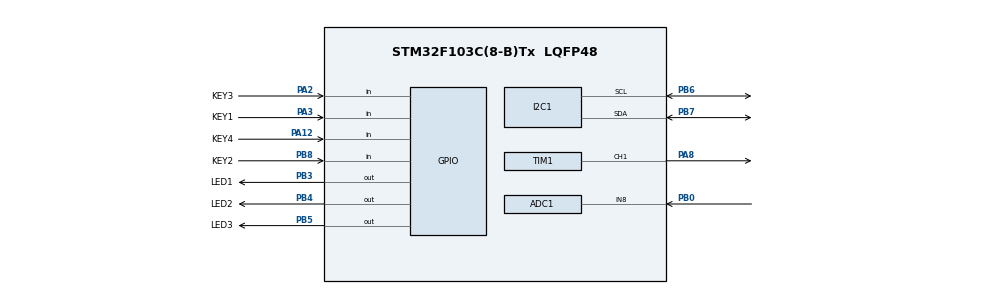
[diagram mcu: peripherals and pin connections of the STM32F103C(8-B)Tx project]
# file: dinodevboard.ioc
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ADC1.Channel-0\#ChannelRegularConversion=ADC_CHANNEL_8
ADC1.NbrOfConversionFlag=1
ADC1.Rank-0\#ChannelRegularConversion=1
ADC1.SamplingTime-0\#ChannelRegularConversion=ADC_SAMPLETIME_1CYCLE_5
ADC1.master=1
Mcu.Family=STM32F1
Mcu.Name=STM32F103C(8-B)Tx
Mcu.Package=LQFP48
NVIC.PriorityGroup=NVIC_PRIORITYGROUP_4
PA12.GPIO_Label=KEY4
PA12.GPIO_PuPd=GPIO_PULLUP
PA12.Signal=GPIO_Input
PA13.Mode=Serial_Wire
PA13.Signal=SYS_JTMS-SWDIO
PA14.Mode=Serial_Wire
PA14.Signal=SYS_JTCK-SWCLK
PA2.GPIO_Label=KEY3
PA2.GPIO_PuPd=GPIO_PULLUP
PA2.Signal=GPIO_Input
PA3.GPIO_Label=KEY1
PA3.GPIO_PuPd=GPIO_PULLUP
PA3.Signal=GPIO_Input
PA8.Signal=S_TIM1_CH1
PB0.Signal=ADCx_IN8
PB3.GPIO_Label=LED1
PB3.PinState=GPIO_PIN_RESET
PB3.Signal=GPIO_Output
PB4.GPIO_Label=LED2
PB4.Signal=GPIO_Output
PB5.GPIO_Label=LED3
PB5.Signal=GPIO_Output
PB6.Mode=I2C
PB6.Signal=I2C1_SCL
PB7.Mode=I2C
PB7.Signal=I2C1_SDA
PB8.GPIO_Label=KEY2
PB8.GPIO_PuPd=GPIO_PULLUP
PB8.Signal=GPIO_Input
PD0-OSC_IN.Mode=HSE-External-Oscillator
PD0-OSC_IN.Signal=RCC_OSC_IN
PD1-OSC_OUT.Mode=HSE-External-Oscillator
PD1-OSC_OUT.Signal=RCC_OSC_OUT
ProjectManager.HeapSize=0x200
ProjectManager.StackSize=0x400
ProjectManager.TargetToolchain=STM32CubeIDE
RCC.APB1Freq_Value=8000000
RCC.APB2Freq_Value=8000000
SH.ADCx_IN8.0=ADC1_IN8,IN8
SH.S_TIM1_CH1.0=TIM1_CH1,PWM Generation1 CH1
TIM1.Channel-PWM\ Generation1\ CH1=TIM_CHANNEL_1
board=custom

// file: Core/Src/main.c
/* USER CODE BEGIN Header */
/**
 ******************************************************************************
 * @file           : main.c
 * @brief          : Main program body
 ******************************************************************************
 * @attention
 *
 * Copyright (c) 2023 STMicroelectronics.
 * All rights reserved.
 *
 * This software is licensed under terms that can be found in the LICENSE file
 * in the root directory of this software component.
 * If no LICENSE file comes with this software, it is provided AS-IS.
 *
 ******************************************************************************
 */
/* USER CODE END Header */
#include "main.h"

/* USER CODE BEGIN Includes */
#include"ssd1306.h"
#include<stdio.h>
#include"button.h"
#include "tetris.h"
#include "ssd1306.h"
#include "button.h"
/* USER CODE END Includes */

/* USER CODE BEGIN PTD */
button BTNUP, BTNLEFT, BTNRIGHT, BTNDOWN;
void printPointer(uint8_t ptr)
{
	ssd1306_SetCursor(0, ptr * 10);
	ssd1306_WriteString(">", Font_7x10, White);
}
/* USER CODE END PTD */

ADC_HandleTypeDef hadc1;

I2C_HandleTypeDef hi2c1;

TIM_HandleTypeDef htim1;

void SystemClock_Config(void);
static void MX_GPIO_Init(void);
static void MX_I2C1_Init(void);
static void MX_ADC1_Init(void);
static void MX_TIM1_Init(void);

/* USER CODE BEGIN 0 */

#define MPU6050_ADDR 0xD0

#define SMPLRT_DIV_REG 0x19
#define GYRO_CONFIG_REG 0x1B
#define ACCEL_CONFIG_REG 0x1C
#define ACCEL_XOUT_H_REG 0x3B
#define TEMP_OUT_H_REG 0x41
#define GYRO_XOUT_H_REG 0x43
#define PWR_MGMT_1_REG 0x6B
#define WHO_AM_I_REG 0x75

int16_t Accel_X_RAW = 0;
int16_t Accel_Y_RAW = 0;
int16_t Accel_Z_RAW = 0;

int16_t Gyro_X_RAW = 0;
int16_t Gyro_Y_RAW = 0;
int16_t Gyro_Z_RAW = 0;

float Ax, Ay, Az, Gx, Gy, Gz;

void MPU6050_Init(void)
{
	uint8_t check;
	uint8_t Data;

	// check device ID WHO_AM_I

	HAL_I2C_Mem_Read(&hi2c1, MPU6050_ADDR, WHO_AM_I_REG, 1, &check, 1, 1000);

	if (check == 104) // 0x68 will be returned by the sensor if everything goes well
	{
		// power management register 0X6B we should write all 0's to wake the sensor up
		Data = 0;
		HAL_I2C_Mem_Write(&hi2c1, MPU6050_ADDR, PWR_MGMT_1_REG, 1, &Data, 1,
				1000);

		// Set DATA RATE of 1KHz by writing SMPLRT_DIV register
		Data = 0x07;
		HAL_I2C_Mem_Write(&hi2c1, MPU6050_ADDR, SMPLRT_DIV_REG, 1, &Data, 1,
				1000);

		// Set accelerometer configuration in ACCEL_CONFIG Register
		// XA_ST=0,YA_ST=0,ZA_ST=0, FS_SEL=0 -> ± 2g
		Data = 0x00;
		HAL_I2C_Mem_Write(&hi2c1, MPU6050_ADDR, ACCEL_CONFIG_REG, 1, &Data, 1,
				1000);

		// Set Gyroscopic configuration in GYRO_CONFIG Register
		// XG_ST=0,YG_ST=0,ZG_ST=0, FS_SEL=0 -> ± 250 °/s
		Data = 0x00;
		HAL_I2C_Mem_Write(&hi2c1, MPU6050_ADDR, GYRO_CONFIG_REG, 1, &Data, 1,
				1000);
	}

}

void MPU6050_Read_Accel(void)
{
	uint8_t Rec_Data[6];

	// Read 6 BYTES of data starting from ACCEL_XOUT_H register

	HAL_I2C_Mem_Read(&hi2c1, MPU6050_ADDR, ACCEL_XOUT_H_REG, 1, Rec_Data, 6,
			1000);

	Accel_X_RAW = (int16_t) (Rec_Data[0] << 8 | Rec_Data[1]);
	Accel_Y_RAW = (int16_t) (Rec_Data[2] << 8 | Rec_Data[3]);
	Accel_Z_RAW = (int16_t) (Rec_Data[4] << 8 | Rec_Data[5]);

	/*** convert the RAW values into acceleration in 'g'
	 we have to divide according to the Full scale value set in FS_SEL
	 I have configured FS_SEL = 0. So I am dividing by 16384.0
	 for more details check ACCEL_CONFIG Register              ****/

	Ax = Accel_X_RAW / 16384.0;
	Ay = Accel_Y_RAW / 16384.0;
	Az = Accel_Z_RAW / 16384.0;
}

void MPU6050_Read_Gyro(void)
{
	uint8_t Rec_Data[6];

	// Read 6 BYTES of data starting from GYRO_XOUT_H register

	HAL_I2C_Mem_Read(&hi2c1, MPU6050_ADDR, GYRO_XOUT_H_REG, 1, Rec_Data, 6,
			1000);

	Gyro_X_RAW = (int16_t) (Rec_Data[0] << 8 | Rec_Data[1]);
	Gyro_Y_RAW = (int16_t) (Rec_Data[2] << 8 | Rec_Data[3]);
	Gyro_Z_RAW = (int16_t) (Rec_Data[4] << 8 | Rec_Data[5]);

	/*** convert the RAW values into dps (°/s)
	 we have to divide according to the Full scale value set in FS_SEL
	 I have configured FS_SEL = 0. So I am dividing by 131.0
	 for more details check GYRO_CONFIG Register              ****/

	Gx = Gyro_X_RAW / 131.0;
	Gy = Gyro_Y_RAW / 131.0;
	Gz = Gyro_Z_RAW / 131.0;
}
void menuOverview()
{
	ssd1306_Fill(Black);
	HAL_GPIO_WritePin(LED1_GPIO_Port, LED1_Pin, GPIO_PIN_SET);
	HAL_Delay(250);
	HAL_GPIO_WritePin(LED2_GPIO_Port, LED2_Pin, GPIO_PIN_SET);
	HAL_Delay(250);
	HAL_GPIO_WritePin(LED3_GPIO_Port, LED3_Pin, GPIO_PIN_SET);
	if (Button_Check(BTNRIGHT) && Button_Check(BTNLEFT))
	{
		return;
	}
	ssd1306_Fill(Black);
	ssd1306_UpdateScreen();
	HAL_GPIO_WritePin(LED1_GPIO_Port, LED1_Pin, GPIO_PIN_SET);
	HAL_GPIO_WritePin(LED2_GPIO_Port, LED2_Pin, GPIO_PIN_SET);
	HAL_GPIO_WritePin(LED3_GPIO_Port, LED3_Pin, GPIO_PIN_SET);
	ssd1306_SetCursor(0, 0);
	ssd1306_WriteString("", Font_6x8, White);
	HAL_Delay(500);
	ssd1306_UpdateScreen();
	ssd1306_SetCursor(0, 10);
	ssd1306_WriteString(" BLINK == Hello World ", Font_6x8, White);
	HAL_Delay(500);
	ssd1306_UpdateScreen();
	ssd1306_SetCursor(0, 20);
	ssd1306_WriteString(" in embedded so hello", Font_6x8, White);
	HAL_Delay(500);
	ssd1306_UpdateScreen();
	ssd1306_SetCursor(0, 30);
	ssd1306_WriteString("     from BSW Tech", Font_6x8, White);
	HAL_Delay(500);
	ssd1306_UpdateScreen();
	ssd1306_SetCursor(0, 40);
	ssd1306_WriteString("", Font_6x8, White);
	HAL_Delay(500);
	ssd1306_UpdateScreen();
	HAL_Delay(1000);
	if (Button_Check(BTNRIGHT) && Button_Check(BTNLEFT))
	{
		return;
	}
	ssd1306_Fill(Black);
	ssd1306_UpdateScreen();
	ssd1306_SetCursor(0, 0);
	ssd1306_WriteString("", Font_6x8, White);
	HAL_Delay(500);
	ssd1306_UpdateScreen();
	ssd1306_SetCursor(0, 10);
	ssd1306_WriteString("    This is a brief ", Font_6x8, White);
	HAL_Delay(500);
	ssd1306_UpdateScreen();
	ssd1306_SetCursor(0, 20);
	ssd1306_WriteString("   introduction of", Font_6x8, White);
	HAL_Delay(500);
	ssd1306_UpdateScreen();
	ssd1306_SetCursor(0, 30);
	ssd1306_WriteString("    DinoDev Board", Font_6x8, White);
	HAL_Delay(500);
	ssd1306_UpdateScreen();
	ssd1306_SetCursor(0, 40);
	ssd1306_WriteString("", Font_6x8, White);
	HAL_Delay(500);
	ssd1306_UpdateScreen();
	HAL_Delay(1000);
	if (Button_Check(BTNRIGHT) && Button_Check(BTNLEFT))
	{
		return;
	}
	ssd1306_Fill(Black);
	ssd1306_UpdateScreen();
	ssd1306_SetCursor(0, 0);
	ssd1306_WriteString("", Font_6x8, White);
	HAL_Delay(500);
	ssd1306_UpdateScreen();
	ssd1306_SetCursor(0, 10);
	ssd1306_WriteString(" This Board contains", Font_6x8, White);
	HAL_Delay(500);
	ssd1306_UpdateScreen();
	ssd1306_SetCursor(0, 20);
	ssd1306_WriteString("         4 sensors", Font_6x8, White);
	HAL_Delay(500);
	ssd1306_UpdateScreen();
	ssd1306_SetCursor(0, 30);
	ssd1306_WriteString("", Font_6x8, White);
	HAL_Delay(500);
	ssd1306_UpdateScreen();
	ssd1306_SetCursor(0, 40);
	ssd1306_WriteString("", Font_6x8, White);
	HAL_Delay(500);
	ssd1306_UpdateScreen();
	HAL_Delay(1000);
	if (Button_Check(BTNRIGHT) && Button_Check(BTNLEFT))
	{
		return;
	}
	ssd1306_Fill(Black);
	ssd1306_UpdateScreen();
	ssd1306_SetCursor(0, 0);
	ssd1306_WriteString("", Font_6x8, White);
	HAL_Delay(500);
	ssd1306_UpdateScreen();
	ssd1306_SetCursor(0, 10);
	ssd1306_WriteString("BMP280 Pressure", Font_6x8, White);
	HAL_Delay(500);
	ssd1306_UpdateScreen();
	ssd1306_SetCursor(0, 20);
	ssd1306_WriteString("   Temperature", Font_6x8, White);
	HAL_Delay(500);
	ssd1306_UpdateScreen();
	ssd1306_SetCursor(0, 30);
	ssd1306_WriteString("connected to I2C1", Font_6x8, White);
	HAL_Delay(500);
	ssd1306_UpdateScreen();
	ssd1306_SetCursor(0, 40);
	ssd1306_WriteString("", Font_6x8, White);
	HAL_Delay(500);
	ssd1306_UpdateScreen();
	HAL_Delay(1000);
	if (Button_Check(BTNRIGHT) && Button_Check(BTNLEFT))
	{
		return;
	}
	ssd1306_Fill(Black);
	ssd1306_UpdateScreen();
	ssd1306_SetCursor(0, 0);
	ssd1306_WriteString("", Font_6x8, White);
	HAL_Delay(500);
	ssd1306_UpdateScreen();
	ssd1306_SetCursor(0, 10);
	ssd1306_WriteString("MPU6050 IMU ", Font_6x8, White);
	HAL_Delay(500);
	ssd1306_UpdateScreen();
	ssd1306_SetCursor(0, 20);
	ssd1306_WriteString("ACCELOROMETER", Font_6x8, White);
	HAL_Delay(500);
	ssd1306_UpdateScreen();
	ssd1306_SetCursor(0, 30);
	ssd1306_WriteString("GYROSCOPE", Font_6x8, White);
	HAL_Delay(500);
	ssd1306_UpdateScreen();
	ssd1306_SetCursor(0, 40);
	ssd1306_WriteString("connected to I2C1", Font_6x8, White);
	HAL_Delay(500);
	ssd1306_UpdateScreen();
	HAL_Delay(1000);
	if (Button_Check(BTNRIGHT) && Button_Check(BTNLEFT))
	{
		return;
	}
	ssd1306_Fill(Black);
	ssd1306_UpdateScreen();
	ssd1306_SetCursor(0, 0);
	ssd1306_WriteString("", Font_6x8, White);
	HAL_Delay(500);
	ssd1306_UpdateScreen();
	ssd1306_SetCursor(0, 10);
	ssd1306_WriteString("DHT11 Humidity ", Font_6x8, White);
	HAL_Delay(500);
	ssd1306_UpdateScreen();
	ssd1306_SetCursor(0, 20);
	ssd1306_WriteString("Temperature", Font_6x8, White);
	HAL_Delay(500);
	ssd1306_UpdateScreen();
	ssd1306_SetCursor(0, 30);
	ssd1306_WriteString("connected to PB8", Font_6x8, White);
	HAL_Delay(500);
	ssd1306_UpdateScreen();
	ssd1306_SetCursor(0, 40);
	ssd1306_WriteString("", Font_6x8, White);
	HAL_Delay(500);
	ssd1306_UpdateScreen();
	HAL_Delay(1000);
	if (Button_Check(BTNRIGHT) && Button_Check(BTNLEFT))
	{
		return;
	}
	ssd1306_Fill(Black);
	ssd1306_UpdateScreen();
	ssd1306_SetCursor(0, 0);
	ssd1306_WriteString("", Font_6x8, White);
	HAL_Delay(500);
	ssd1306_UpdateScreen();
	ssd1306_SetCursor(0, 10);
	ssd1306_WriteString("LDR to get ", Font_6x8, White);
	HAL_Delay(500);
	ssd1306_UpdateScreen();
	ssd1306_SetCursor(0, 20);
	ssd1306_WriteString("Luminosity level", Font_6x8, White);
	HAL_Delay(500);
	ssd1306_UpdateScreen();
	ssd1306_SetCursor(0, 30);
	ssd1306_WriteString("Also 4 user buttons", Font_6x8, White);
	HAL_Delay(500);
	ssd1306_UpdateScreen();
	ssd1306_SetCursor(0, 40);
	ssd1306_WriteString("And 3 LEDS", Font_6x8, White);
	HAL_Delay(500);
	ssd1306_UpdateScreen();
	HAL_Delay(1000);
	if (Button_Check(BTNRIGHT) && Button_Check(BTNLEFT))
	{
		return;
	}
	ssd1306_Fill(Black);
	ssd1306_UpdateScreen();
	ssd1306_SetCursor(0, 0);
	ssd1306_WriteString("Board is driven by", Font_6x8, White);
	HAL_Delay(500);
	ssd1306_UpdateScreen();
	ssd1306_SetCursor(0, 10);
	ssd1306_WriteString("CortexM3 STM32 use", Font_6x8, White);
	HAL_Delay(500);
	ssd1306_UpdateScreen();
	ssd1306_SetCursor(0, 20);
	ssd1306_WriteString("It and only border", Font_6x8, White);
	HAL_Delay(500);
	ssd1306_UpdateScreen();
	ssd1306_SetCursor(0, 30);
	ssd1306_WriteString("is your imagination", Font_6x8, White);
	HAL_Delay(500);
	ssd1306_UpdateScreen();
	ssd1306_SetCursor(0, 40);
	ssd1306_WriteString("", Font_6x8, White);
	HAL_Delay(500);
	ssd1306_UpdateScreen();
	HAL_Delay(1000);
	if (Button_Check(BTNRIGHT) && Button_Check(BTNLEFT))
	{
		return;
	}
	ssd1306_Fill(Black);
	ssd1306_UpdateScreen();
}
/* USER CODE END 0 */

int main(void)
{
	/* USER CODE BEGIN 1 */
	uint16_t AD_RES = 0, Vamb, DC_Multiplier;
	/* USER CODE END 1 */

	/* MCU Configuration--------------------------------------------------------*/

	/* Reset of all peripherals, Initializes the Flash interface and the Systick. */
	HAL_Init();

	/* Configure the system clock */
	SystemClock_Config();

	/* Initialize all configured peripherals */
	MX_GPIO_Init();
	MX_I2C1_Init();
	MX_ADC1_Init();
	MX_TIM1_Init();
	/* USER CODE BEGIN 2 */

	ssd1306_Init();
	MPU6050_Init();
	ssd1306_SetCursor(0, 0);
	ssd1306_WriteString("Initialized", Font_7x10, White);
	ssd1306_UpdateScreen();
	// Calibrate The ADC On Power-Up For Better Accuracy
	HAL_ADCEx_Calibration_Start(&hadc1);

	// Read The Sensor Once To Get The Ambient Level
	// & Calculate The DutyCycle Multiplier
	HAL_ADC_Start(&hadc1);
	HAL_ADC_PollForConversion(&hadc1, 1);
	Vamb = HAL_ADC_GetValue(&hadc1);
	DC_Multiplier = 65535 / (4096 - Vamb);
	uint16_t LDR_VAL = 0;
	char buf[16] =
	{ 0 };
//initializing buttons
	BTNUP.PIN = KEY2_Pin;
	BTNUP.PORT = KEY2_GPIO_Port;
	BTNUP.StateFlag = 0;
	BTNLEFT.PIN = KEY1_Pin;
	BTNLEFT.PORT = KEY1_GPIO_Port;
	BTNLEFT.StateFlag = 0;
	BTNRIGHT.PIN = KEY3_Pin;
	BTNRIGHT.PORT = KEY3_GPIO_Port;
	BTNRIGHT.StateFlag = 0;
	BTNDOWN.PIN = KEY4_Pin;
	BTNDOWN.PORT = KEY4_GPIO_Port;
	BTNDOWN.StateFlag = 0;
	HAL_TIM_PWM_Start(&htim1, TIM_CHANNEL_1);
	HAL_Delay(1000);  // wait for 1 sec

	/* USER CODE END 2 */

	/* Infinite loop */
	while (1)
	{

		/* USER CODE BEGIN 3 */
		static uint8_t pointer = 0;
		ssd1306_Fill(Black);
		ssd1306_SetCursor(7, 0);
		ssd1306_WriteString("DATA", Font_7x10, White);
		ssd1306_SetCursor(7, 10);
		ssd1306_WriteString("TETRIS", Font_7x10, White);
		ssd1306_SetCursor(7, 20);
		ssd1306_WriteString("IMU", Font_7x10, White);
		ssd1306_SetCursor(7, 30);
		ssd1306_WriteString("LDR", Font_7x10, White);
		printPointer(pointer);
		if (Button_Check(BTNDOWN))
		{
			HAL_GPIO_WritePin(LED3_GPIO_Port, LED3_Pin, GPIO_PIN_SET);
			TIM1->CCR1 = 65535;
			if (pointer > -1 && pointer < 3)
			{
				pointer++;
			}
		}
		else if (Button_Check(BTNUP))
		{
			HAL_GPIO_WritePin(LED2_GPIO_Port, LED2_Pin, GPIO_PIN_SET);
			TIM1->CCR1 = 0;
			if (pointer > 0 && pointer < 4)
			{
				pointer--;
			}
		}
		else if (Button_Check(BTNRIGHT) && Button_Check(BTNLEFT))
		{
			return;
		}
		else if (Button_Check(BTNRIGHT))
		{
			HAL_GPIO_WritePin(LED1_GPIO_Port, LED1_Pin, GPIO_PIN_SET);
			TIM1->CCR1 = 0;
			switch (pointer)
			{
			case 0:
			{
				menuOverview();
				break;
			}
			case 1:
			{
				Tetris_GameLoop();
				break;
			}
			case 2:
			{

				// read the Accelerometer and Gyro values
				MPU6050_Read_Accel();
				MPU6050_Read_Gyro();

				// print the Acceleration and Gyro values on the LCD 20x4
				ssd1306_Fill(Black);
				ssd1306_SetCursor(0, 0);
				ssd1306_WriteString("Ax=", Font_7x10, White);
				sprintf(buf, "%.2f", Ax);
				ssd1306_WriteString(buf, Font_7x10, White);
				ssd1306_WriteString("g ", Font_7x10, White);

				ssd1306_SetCursor(0, 10);
				ssd1306_WriteString("Ay=", Font_7x10, White);
				sprintf(buf, "%.2f", Ay);
				ssd1306_WriteString(buf, Font_7x10, White);
				ssd1306_WriteString("g ", Font_7x10, White);

				ssd1306_SetCursor(0, 20);
				ssd1306_WriteString("Az=", Font_7x10, White);
				sprintf(buf, "%.2f", Az);
				ssd1306_WriteString(buf, Font_7x10, White);
				ssd1306_WriteString("g ", Font_7x10, White);

				ssd1306_SetCursor(0, 30);
				ssd1306_WriteString("Gx=", Font_7x10, White);
				sprintf(buf, "%.2f", Gx);
				ssd1306_WriteString(buf, Font_7x10, White);

				ssd1306_SetCursor(0, 40);
				ssd1306_WriteString("Gy=", Font_7x10, White);
				sprintf(buf, "%.2f", Gy);
				ssd1306_WriteString(buf, Font_7x10, White);

				ssd1306_SetCursor(0, 50);
				ssd1306_WriteString("Gz=", Font_7x10, White);
				sprintf(buf, "%.2f", Gz);
				ssd1306_WriteString(buf, Font_7x10, White);
				ssd1306_UpdateScreen();
				HAL_Delay(250);  // wait for a while
				break;
			}
			case 3:
			{
				// Start ADC Conversion
				HAL_ADC_Start(&hadc1);
				// Poll ADC1 Perihperal & TimeOut = 1mSec
				HAL_ADC_PollForConversion(&hadc1, 1);
				// Read The ADC Conversion Result & Map It To PWM DutyCycle
				AD_RES = HAL_ADC_GetValue(&hadc1);
				LDR_VAL = (AD_RES - Vamb) * DC_Multiplier;
				HAL_Delay(1);
				ssd1306_WriteString("LDR value = ", Font_7x10, White);
				sprintf(buf, "%d", LDR_VAL);
				ssd1306_WriteString(buf, Font_7x10, White);
				ssd1306_UpdateScreen();
				if (LDR_VAL > 20000)
				{
					HAL_GPIO_WritePin(LED1_GPIO_Port, LED1_Pin, GPIO_PIN_SET);
					HAL_GPIO_WritePin(LED2_GPIO_Port, LED2_Pin, GPIO_PIN_RESET);
					HAL_GPIO_WritePin(LED3_GPIO_Port, LED3_Pin, GPIO_PIN_RESET);
				}
				if (LDR_VAL > 30000)
				{
					HAL_GPIO_WritePin(LED1_GPIO_Port, LED1_Pin, GPIO_PIN_SET);
					HAL_GPIO_WritePin(LED2_GPIO_Port, LED2_Pin, GPIO_PIN_SET);
					HAL_GPIO_WritePin(LED3_GPIO_Port, LED3_Pin, GPIO_PIN_RESET);
				}
				if (LDR_VAL > 40000)
				{
					HAL_GPIO_WritePin(LED1_GPIO_Port, LED1_Pin, GPIO_PIN_SET);
					HAL_GPIO_WritePin(LED2_GPIO_Port, LED2_Pin, GPIO_PIN_SET);
					HAL_GPIO_WritePin(LED3_GPIO_Port, LED3_Pin, GPIO_PIN_SET);
				}
			}
			}
		}
		ssd1306_UpdateScreen();

	}
	/* USER CODE END 3 */
}

void SystemClock_Config(void)
{
	RCC_OscInitTypeDef RCC_OscInitStruct =
	{ 0 };
	RCC_ClkInitTypeDef RCC_ClkInitStruct =
	{ 0 };
	RCC_PeriphCLKInitTypeDef PeriphClkInit =
	{ 0 };

	/** Initializes the RCC Oscillators according to the specified parameters
	 * in the RCC_OscInitTypeDef structure.
	 */
	RCC_OscInitStruct.OscillatorType = RCC_OSCILLATORTYPE_HSI;
	RCC_OscInitStruct.HSIState = RCC_HSI_ON;
	RCC_OscInitStruct.HSICalibrationValue = RCC_HSICALIBRATION_DEFAULT;
	RCC_OscInitStruct.PLL.PLLState = RCC_PLL_NONE;
	if (HAL_RCC_OscConfig(&RCC_OscInitStruct) != HAL_OK)
	{
		Error_Handler();
	}

	/** Initializes the CPU, AHB and APB buses clocks
	 */
	RCC_ClkInitStruct.ClockType = RCC_CLOCKTYPE_HCLK | RCC_CLOCKTYPE_SYSCLK
			| RCC_CLOCKTYPE_PCLK1 | RCC_CLOCKTYPE_PCLK2;
	RCC_ClkInitStruct.SYSCLKSource = RCC_SYSCLKSOURCE_HSI;
	RCC_ClkInitStruct.AHBCLKDivider = RCC_SYSCLK_DIV1;
	RCC_ClkInitStruct.APB1CLKDivider = RCC_HCLK_DIV1;
	RCC_ClkInitStruct.APB2CLKDivider = RCC_HCLK_DIV1;

	if (HAL_RCC_ClockConfig(&RCC_ClkInitStruct, FLASH_LATENCY_0) != HAL_OK)
	{
		Error_Handler();
	}
	PeriphClkInit.PeriphClockSelection = RCC_PERIPHCLK_ADC;
	PeriphClkInit.AdcClockSelection = RCC_ADCPCLK2_DIV2;
	if (HAL_RCCEx_PeriphCLKConfig(&PeriphClkInit) != HAL_OK)
	{
		Error_Handler();
	}
}

static void MX_ADC1_Init(void)
{

	ADC_ChannelConfTypeDef sConfig =
	{ 0 };

	/** Common config
	 */
	hadc1.Instance = ADC1;
	hadc1.Init.ScanConvMode = ADC_SCAN_DISABLE;
	hadc1.Init.ContinuousConvMode = DISABLE;
	hadc1.Init.DiscontinuousConvMode = DISABLE;
	hadc1.Init.ExternalTrigConv = ADC_SOFTWARE_START;
	hadc1.Init.DataAlign = ADC_DATAALIGN_RIGHT;
	hadc1.Init.NbrOfConversion = 1;
	if (HAL_ADC_Init(&hadc1) != HAL_OK)
	{
		Error_Handler();
	}

	/** Configure Regular Channel
	 */
	sConfig.Channel = ADC_CHANNEL_8;
	sConfig.Rank = ADC_REGULAR_RANK_1;
	sConfig.SamplingTime = ADC_SAMPLETIME_1CYCLE_5;
	if (HAL_ADC_ConfigChannel(&hadc1, &sConfig) != HAL_OK)
	{
		Error_Handler();
	}

}

static void MX_I2C1_Init(void)
{

	hi2c1.Instance = I2C1;
	hi2c1.Init.ClockSpeed = 100000;
	hi2c1.Init.DutyCycle = I2C_DUTYCYCLE_2;
	hi2c1.Init.OwnAddress1 = 0;
	hi2c1.Init.AddressingMode = I2C_ADDRESSINGMODE_7BIT;
	hi2c1.Init.DualAddressMode = I2C_DUALADDRESS_DISABLE;
	hi2c1.Init.OwnAddress2 = 0;
	hi2c1.Init.GeneralCallMode = I2C_GENERALCALL_DISABLE;
	hi2c1.Init.NoStretchMode = I2C_NOSTRETCH_DISABLE;
	if (HAL_I2C_Init(&hi2c1) != HAL_OK)
	{
		Error_Handler();
	}

}

static void MX_TIM1_Init(void)
{

	TIM_MasterConfigTypeDef sMasterConfig =
	{ 0 };
	TIM_OC_InitTypeDef sConfigOC =
	{ 0 };
	TIM_BreakDeadTimeConfigTypeDef sBreakDeadTimeConfig =
	{ 0 };

	htim1.Instance = TIM1;
	htim1.Init.Prescaler = 0;
	htim1.Init.CounterMode = TIM_COUNTERMODE_UP;
	htim1.Init.Period = 65535;
	htim1.Init.ClockDivision = TIM_CLOCKDIVISION_DIV1;
	htim1.Init.RepetitionCounter = 0;
	htim1.Init.AutoReloadPreload = TIM_AUTORELOAD_PRELOAD_DISABLE;
	if (HAL_TIM_PWM_Init(&htim1) != HAL_OK)
	{
		Error_Handler();
	}
	sMasterConfig.MasterOutputTrigger = TIM_TRGO_RESET;
	sMasterConfig.MasterSlaveMode = TIM_MASTERSLAVEMODE_DISABLE;
	if (HAL_TIMEx_MasterConfigSynchronization(&htim1, &sMasterConfig) != HAL_OK)
	{
		Error_Handler();
	}
	sConfigOC.OCMode = TIM_OCMODE_PWM1;
	sConfigOC.Pulse = 0;
	sConfigOC.OCPolarity = TIM_OCPOLARITY_HIGH;
	sConfigOC.OCNPolarity = TIM_OCNPOLARITY_HIGH;
	sConfigOC.OCFastMode = TIM_OCFAST_DISABLE;
	sConfigOC.OCIdleState = TIM_OCIDLESTATE_RESET;
	sConfigOC.OCNIdleState = TIM_OCNIDLESTATE_RESET;
	if (HAL_TIM_PWM_ConfigChannel(&htim1, &sConfigOC, TIM_CHANNEL_1) != HAL_OK)
	{
		Error_Handler();
	}
	sBreakDeadTimeConfig.OffStateRunMode = TIM_OSSR_DISABLE;
	sBreakDeadTimeConfig.OffStateIDLEMode = TIM_OSSI_DISABLE;
	sBreakDeadTimeConfig.LockLevel = TIM_LOCKLEVEL_OFF;
	sBreakDeadTimeConfig.DeadTime = 0;
	sBreakDeadTimeConfig.BreakState = TIM_BREAK_DISABLE;
	sBreakDeadTimeConfig.BreakPolarity = TIM_BREAKPOLARITY_HIGH;
	sBreakDeadTimeConfig.AutomaticOutput = TIM_AUTOMATICOUTPUT_DISABLE;
	if (HAL_TIMEx_ConfigBreakDeadTime(&htim1, &sBreakDeadTimeConfig) != HAL_OK)
	{
		Error_Handler();
	}
	HAL_TIM_MspPostInit(&htim1);

}

static void MX_GPIO_Init(void)
{
	GPIO_InitTypeDef GPIO_InitStruct =
	{ 0 };

	/* GPIO Ports Clock Enable */
	__HAL_RCC_GPIOD_CLK_ENABLE();
	__HAL_RCC_GPIOA_CLK_ENABLE();
	__HAL_RCC_GPIOB_CLK_ENABLE();

	/*Configure GPIO pin Output Level */
	HAL_GPIO_WritePin(GPIOB, LED1_Pin | LED2_Pin | LED3_Pin, GPIO_PIN_RESET);

	/*Configure GPIO pins : KEY3_Pin KEY1_Pin KEY4_Pin */
	GPIO_InitStruct.Pin = KEY3_Pin | KEY1_Pin | KEY4_Pin;
	GPIO_InitStruct.Mode = GPIO_MODE_INPUT;
	GPIO_InitStruct.Pull = GPIO_PULLUP;
	HAL_GPIO_Init(GPIOA, &GPIO_InitStruct);

	/*Configure GPIO pins : LED1_Pin LED2_Pin LED3_Pin */
	GPIO_InitStruct.Pin = LED1_Pin | LED2_Pin | LED3_Pin;
	GPIO_InitStruct.Mode = GPIO_MODE_OUTPUT_PP;
	GPIO_InitStruct.Pull = GPIO_NOPULL;
	GPIO_InitStruct.Speed = GPIO_SPEED_FREQ_LOW;
	HAL_GPIO_Init(GPIOB, &GPIO_InitStruct);

	/*Configure GPIO pin : KEY2_Pin */
	GPIO_InitStruct.Pin = KEY2_Pin;
	GPIO_InitStruct.Mode = GPIO_MODE_INPUT;
	GPIO_InitStruct.Pull = GPIO_PULLUP;
	HAL_GPIO_Init(KEY2_GPIO_Port, &GPIO_InitStruct);

}

void Error_Handler(void)
{
	__disable_irq();
	while (1)
	{
	}
}
